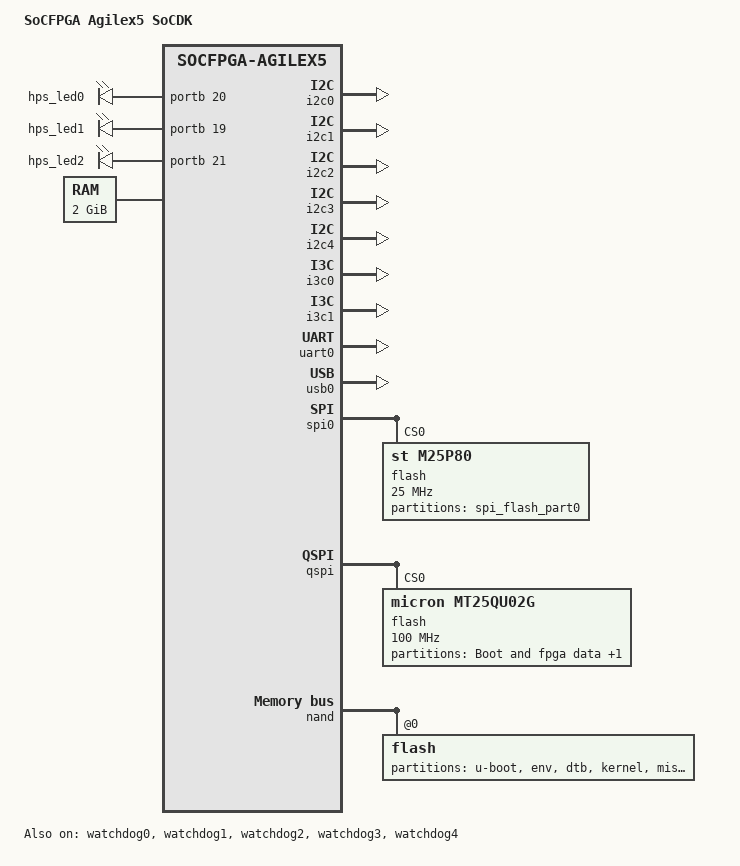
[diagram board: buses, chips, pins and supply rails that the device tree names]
// SPDX-License-Identifier: GPL-2.0-only
/*
 * Copyright (C) 2023, Intel Corporation
 */
#include "socfpga_agilex5.dtsi"

/ {
	model = "SoCFPGA Agilex5 SoCDK";
	compatible = "intel,socfpga-agilex5-socdk", "intel,socfpga-agilex5";

	aliases {
		serial0 = &uart0;
	};

	chosen {
		stdout-path = "serial0:115200n8";
	};

	leds {
		compatible = "gpio-leds";
		led-0 {
			label = "hps_led0";
			gpios = <&portb 20 GPIO_ACTIVE_HIGH>;
		};

		led-1 {
			label = "hps_led1";
			gpios = <&portb 19 GPIO_ACTIVE_HIGH>;
		};

		led-2 {
			label = "hps_led2";
			gpios = <&portb 21 GPIO_ACTIVE_HIGH>;
		};
	};

	memory {
		device_type = "memory";
		reg = <0x0 0x80000000 0x0 0x80000000>;
	};
};

&gpio1 {
	status = "okay";
};

&i2c0 {
	status = "okay";
};

&i2c1 {
	status = "okay";
};

&i2c2 {
	status = "okay";
};

&i2c3 {
	status = "okay";
};

&i2c4 {
	status = "okay";
};

&i3c0 {
	status = "okay";
};

&i3c1 {
	status = "okay";
};

&osc1 {
	clock-frequency = <25000000>;
};

&uart0 {
	status = "okay";
};

&usb0 {
	status = "okay";
	disable-over-current;
};

&watchdog0 {
	status = "okay";
};

&watchdog1 {
	status = "okay";
};

&watchdog2 {
	status = "okay";
};

&watchdog3 {
	status = "okay";
};

&watchdog4 {
	status = "okay";
};

&spi0 {
	status = "okay";
	flash: m25p128@0 {
		#address-cells = <1>;
		#size-cells = <1>;
		compatible = "st,m25p80";
		reg = <0>;
		spi-max-frequency = <25000000>;
		m25p,fast-read;

		partition@0 {
			label = "spi_flash_part0";
			reg = <0x0 0x100000>;
		};
	};
};

&qspi {
	status = "okay";
	flash@0 {
		#address-cells = <1>;
		#size-cells = <1>;
		compatible = "micron,mt25qu02g", "jedec,spi-nor";
		reg = <0>;
		spi-max-frequency = <100000000>;
		m25p,fast-read;
		cdns,read-delay = <2>;
		cdns,tshsl-ns = <50>;
		cdns,tsd2d-ns = <50>;
		cdns,tchsh-ns = <4>;
		cdns,tslch-ns = <4>;

		qspi_boot: partition@0 {
			label = "Boot and fpga data";
			reg = <0x0 0x03FE0000>;
		};

		qspi_rootfs: partition@3FE0000 {
			label = "Root Filesystem - JFFS2";
			reg = <0x03FE0000 0x0C020000>;
		};
	};
};

&nand {
	status = "okay";
	flash@0 {
		#address-cells = <1>;
		#size-cells = <1>;
		reg = <0>;
		nand-bus-width = <16>;

		partition@0 {
			label = "u-boot";
			reg = <0 0x200000>;
		};
		partition@200000 {
			label = "env";
			reg = <0x200000 0x40000>;
		};
		partition@240000 {
			label = "dtb";
			reg = <0x240000 0x40000>;
		};
		partition@280000 {
			label = "kernel";
			reg = <0x280000 0x2000000>;
		};
		partition@2280000 {
			label = "misc";
			reg = <0x2280000 0x2000000>;
		};
		partition@4280000 {
			label = "rootfs";
			reg = <0x4280000 0x3d80000>;
		};
	};
};
